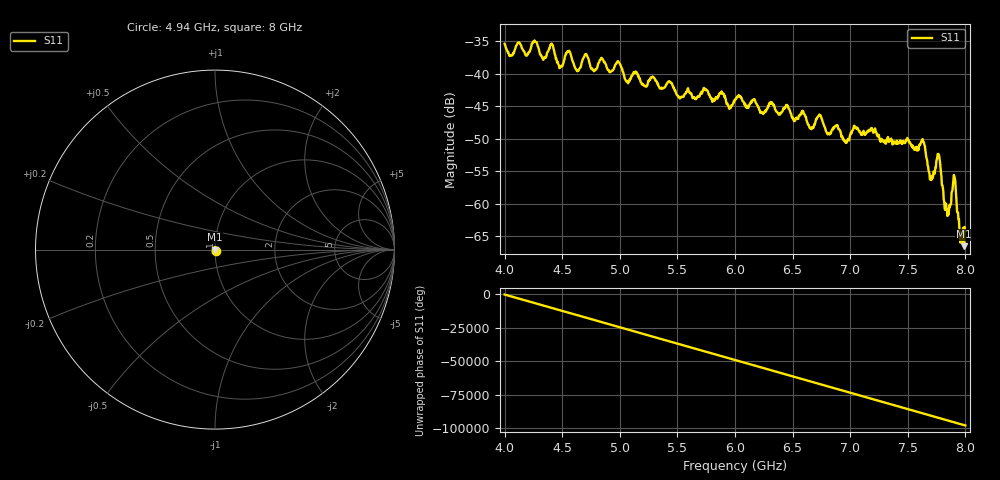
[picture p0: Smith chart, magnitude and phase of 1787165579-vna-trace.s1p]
! Created with skrf 1.10.0 (http://scikit-rf.org).
# Hz S RI R 50.0
!freq ReS11 ImS11
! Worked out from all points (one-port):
!   1001 points, 4 GHz to 8 GHz, reference 50 ohm
!   lowest |S11| = -66.6 dB at 7.988 GHz (marker M1), VSWR 1.00, Z = 50 + j0.0285 ohm
!   |S11| at or under -10 dB: start of sweep to end of sweep
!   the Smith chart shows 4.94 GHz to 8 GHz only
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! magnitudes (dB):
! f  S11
! 4 GHz  -35.4
! 4.196 GHz  -37.2
! 4.264 GHz  -35.1
! 4.34 GHz  -37.6
! 4.408 GHz  -35.3
! 4.5 GHz  -38.9
! 4.552 GHz  -36.6
! 4.632 GHz  -39.6
! 4.704 GHz  -37.0
! 4.772 GHz  -39.5
! 5 GHz  -38.5
! 5.064 GHz  -41.2
! 5.432 GHz  -41.2
! 5.5 GHz  -43.4
! 6 GHz  -44.1
! 6.5 GHz  -46.7
! 6.736 GHz  -46.4
! 6.808 GHz  -49.1
! 7 GHz  -49.4
! 7.5 GHz  -50.1
! 7.632 GHz  -50.4
! 7.7 GHz  -56.2
! 7.768 GHz  -52.4
! 7.832 GHz  -60.0
! 7.9 GHz  -55.6
! 7.948 GHz  -64.0
! 7.988 GHz  -66.6
! 8 GHz  -64.2
